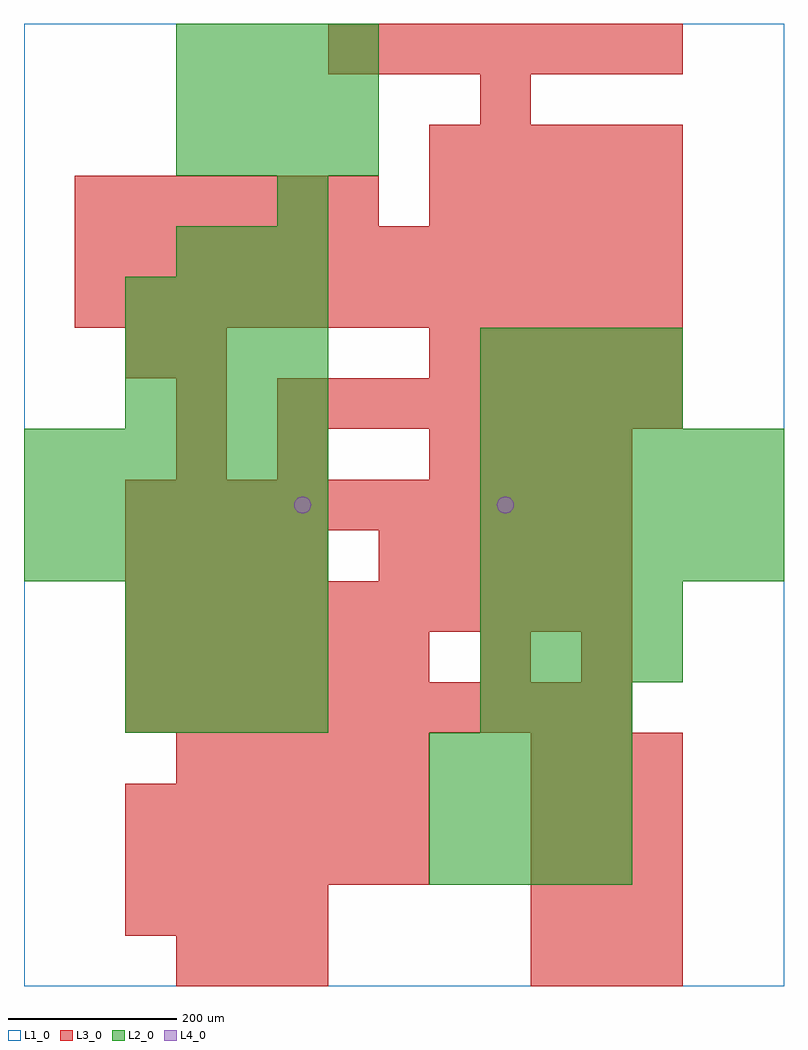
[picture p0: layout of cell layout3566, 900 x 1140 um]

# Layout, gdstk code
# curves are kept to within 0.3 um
import gdstk
lib = gdstk.Library(unit=1e-6, precision=1e-09)
def R(c, l, rs):  # rectangles x0, y0, x1, y1
    for r in rs: c.add(gdstk.rectangle(r[:2], r[2:], *l))
def A(c, l, x, y, w, h, nx, ny, dx, dy):  # array of equal rectangles
    R(c, l, [(x+i*dx, y+j*dy, x+i*dx+w, y+j*dy+h) for i in range(nx) for j in range(ny)])
def P(c, l, *ps):  # polygons
    for p in ps: c.add(gdstk.Polygon(p, *l))
L1_0 = (1, 0)
L2_0 = (2, 0)
L3_0 = (3, 0)
L4_0 = (4, 0)

layout3566 = lib.new_cell('layout3566')
R(layout3566, L1_0, [(0,0,900,1140)])
A(layout3566, L2_0, 480, 120, 60, 60, 4, 3, 60, 60)
A(layout3566, L2_0, 120, 300, 60, 60, 4, 3, 60, 60)
A(layout3566, L2_0, 540, 300, 60, 60, 3, 1, 60, 0)
A(layout3566, L2_0, 540, 360, 60, 60, 4, 2, 60, 60)
A(layout3566, L2_0, 0, 480, 60, 60, 6, 3, 60, 60)
A(layout3566, L2_0, 540, 480, 60, 60, 6, 3, 60, 60)
A(layout3566, L2_0, 120, 660, 60, 60, 4, 3, 60, 60)
A(layout3566, L2_0, 540, 660, 60, 60, 4, 2, 60, 60)
A(layout3566, L2_0, 180, 840, 60, 60, 3, 1, 60, 0)
A(layout3566, L2_0, 180, 960, 60, 60, 4, 3, 60, 60)
R(layout3566, L2_0, [(300,900,360,960)])
A(layout3566, L3_0, 180, 0, 60, 60, 3, 1, 60, 0)
A(layout3566, L3_0, 600, 0, 60, 60, 3, 5, 60, 60)
A(layout3566, L3_0, 120, 60, 60, 60, 4, 2, 60, 420)
A(layout3566, L3_0, 120, 120, 60, 60, 6, 2, 60, 60)
A(layout3566, L3_0, 180, 240, 60, 60, 5, 1, 60, 0)
A(layout3566, L3_0, 120, 300, 60, 60, 10, 3, 60, 120)
A(layout3566, L3_0, 120, 360, 60, 60, 6, 1, 60, 0)
A(layout3566, L3_0, 420, 480, 60, 60, 5, 1, 60, 0)
A(layout3566, L3_0, 180, 600, 60, 60, 1, 3, 0, 60)
A(layout3566, L3_0, 480, 600, 60, 60, 4, 1, 60, 0)
A(layout3566, L3_0, 300, 660, 60, 60, 8, 1, 60, 0)
A(layout3566, L3_0, 480, 720, 60, 60, 5, 2, 60, 180)
A(layout3566, L3_0, 60, 780, 60, 60, 12, 2, 60, 60)
A(layout3566, L3_0, 60, 900, 60, 60, 6, 1, 60, 0)
A(layout3566, L3_0, 480, 960, 60, 60, 5, 1, 60, 0)
A(layout3566, L3_0, 360, 1080, 60, 60, 7, 1, 60, 0)
R(layout3566, L3_0, [(540,360,600,420), (660,360,720,420), (300,600,360,660), (120,720,180,780), (540,1020,600,1080)])
P(layout3566, L4_0, [(340,570),(339.239,573.827),(337.071,577.071),(333.827,579.239),(330,580),(326.173,579.239),(322.929,577.071),(320.761,573.827),(320,570),(320.761,566.173),(322.929,562.929),(326.173,560.761),(330,560),(333.827,560.761),(337.071,562.929),(339.239,566.173)],
  [(580,570),(579.239,573.827),(577.071,577.071),(573.827,579.239),(570,580),(566.173,579.239),(562.929,577.071),(560.761,573.827),(560,570),(560.761,566.173),(562.929,562.929),(566.173,560.761),(570,560),(573.827,560.761),(577.071,562.929),(579.239,566.173)])

lib.write_gds('layout3566.gds')
